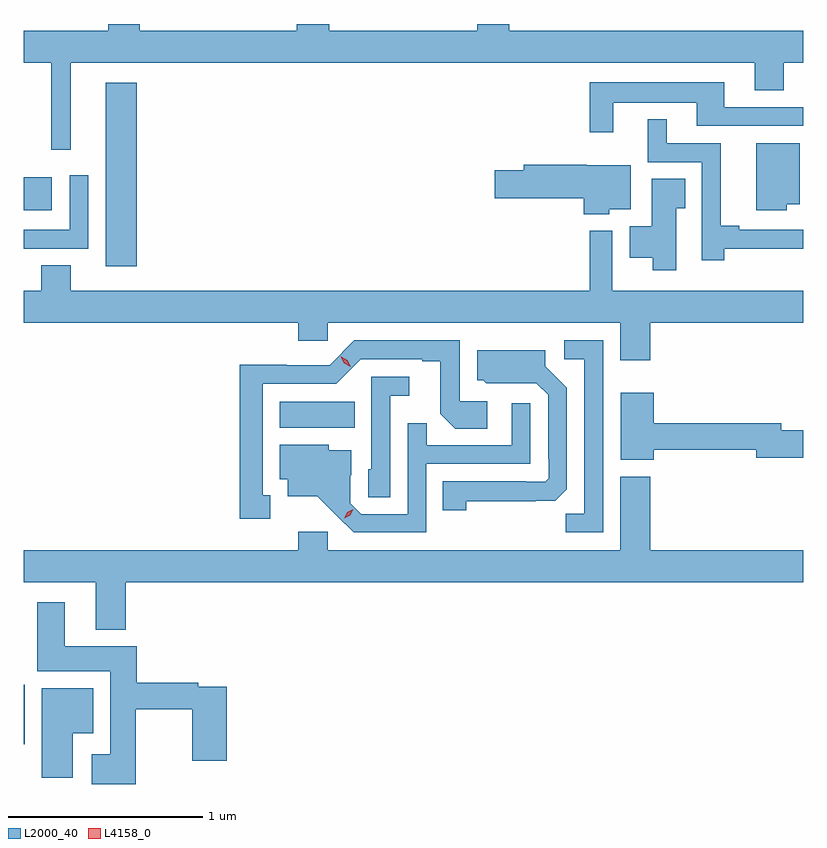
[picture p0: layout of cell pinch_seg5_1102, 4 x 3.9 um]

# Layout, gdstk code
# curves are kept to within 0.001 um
import gdstk
lib = gdstk.Library(unit=1e-6, precision=1e-09)
def R(c, l, rs):  # rectangles x0, y0, x1, y1
    for r in rs: c.add(gdstk.rectangle(r[:2], r[2:], *l))
def P(c, l, *ps):  # polygons
    for p in ps: c.add(gdstk.Polygon(p, *l))
L2000_40 = (2000, 40)
L4158_0 = (4158, 0)

pinch_seg5_1102 = lib.new_cell('pinch_seg5_1102')
R(pinch_seg5_1102, L2000_40, [(755.437,841.277,755.443,841.582), (756.752,842.9,757.136,843.034), (755.858,843.729,756.017,844.669), (755.437,844.016,755.581,844.186)])
P(pinch_seg5_1102, L2000_40, [(755.678,844.772),(759.188,844.772),(759.188,844.63),(759.336,844.63),(759.336,844.772),(759.437,844.772),(759.437,844.936),(757.928,844.936),(757.928,844.971),(757.763,844.971),(757.763,844.936),(757.004,844.936),(757.004,844.971),(756.839,844.971),(756.839,844.936),(756.032,844.936),(756.032,844.971),(755.872,844.971),(755.872,844.936),(755.437,844.936),(755.437,844.772),(755.579,844.772),(755.579,844.326),(755.678,844.326)],
  [(758.461,844.568),(758.891,844.568),(758.891,844.449),(759.437,844.449),(759.437,844.545),(759.031,844.545),(759.031,844.672),(758.34,844.672),(758.34,844.416),(758.461,844.416)],
  [(759.032,843.818),(759.437,843.818),(759.437,843.915),(759.109,843.915),(759.109,843.935),(759.014,843.935),(759.014,844.359),(758.737,844.359),(758.737,844.483),(758.639,844.483),(758.639,844.263),(758.916,844.263),(758.916,843.759),(759.032,843.759)],
  [(759.352,844.046),(759.418,844.046),(759.418,844.36),(759.194,844.36),(759.194,844.016),(759.352,844.016)],
  [(758.442,844.022),(758.551,844.022),(758.551,844.246),(758.325,844.246),(758.325,844.25),(758.003,844.25),(758.003,844.22),(757.854,844.22),(757.854,844.078),(758.309,844.078),(758.309,843.995),(758.442,843.995)],
  [(755.444,843.819),(755.769,843.819),(755.769,844.195),(755.673,844.195),(755.673,843.915),(755.437,843.915),(755.437,843.818),(755.444,843.818)],
  [(758.785,844.027),(758.831,844.027),(758.831,844.178),(758.66,844.178),(758.66,843.934),(758.546,843.934),(758.546,843.773),(758.663,843.773),(758.663,843.708),(758.785,843.708)],
  [(755.68,843.734),(755.528,843.734),(755.528,843.604),(755.437,843.604),(755.437,843.44),(756.845,843.44),(756.845,843.347),(756.996,843.347),(756.996,843.44),(758.498,843.44),(758.498,843.246),(758.651,843.246),(758.651,843.44),(759.437,843.44),(759.437,843.604),(758.457,843.604),(758.457,843.91),(758.341,843.91),(758.341,843.604),(755.68,843.604)],
  [(756.703,842.553),(756.664,842.553),(756.664,843.126),(757.041,843.126),(757.167,843.252),(757.481,843.252),(757.481,843.24),(757.575,843.24),(757.575,842.972),(757.651,842.896),(757.816,842.896),(757.816,843.036),(757.674,843.036),(757.674,843.348),(757.134,843.348),(757.008,843.222),(756.786,843.222),(756.786,843.224),(756.546,843.224),(756.546,842.433),(756.703,842.433)],
  [(758.409,843.348),(758.211,843.348),(758.211,843.252),(758.313,843.252),(758.313,842.459),(758.218,842.459),(758.218,842.364),(758.409,842.364)],
  [(757.707,842.524),(758.164,842.525),(758.223,842.584),(758.223,843.106),(758.113,843.216),(758.113,843.298),(757.763,843.298),(757.763,843.144),(757.794,843.144),(757.81,843.128),(758.067,843.129),(758.127,843.069),(758.127,842.74),(758.13,842.74),(758.13,842.64),(758.112,842.622),(758.012,842.622),(758.012,842.625),(757.588,842.625),(757.588,842.478),(757.707,842.478)],
  [(757.317,843.065),(757.414,843.065),(757.414,843.162),(757.221,843.162),(757.221,842.688),(757.206,842.688),(757.206,842.545),(757.317,842.545)],
  [(758.668,842.788),(759.194,842.788),(759.194,842.746),(759.437,842.746),(759.437,842.888),(759.322,842.888),(759.322,842.924),(758.668,842.924),(758.668,843.079),(758.501,843.079),(758.501,842.735),(758.668,842.735)],
  [(757.503,842.715),(758.037,842.715),(758.037,843.025),(757.941,843.025),(757.941,842.811),(757.505,842.811),(757.505,842.924),(757.407,842.924),(757.407,842.457),(757.17,842.457),(757.113,842.514),(757.113,842.656),(757.117,842.656),(757.117,842.785),(757.002,842.785),(757.002,842.812),(756.752,842.812),(756.752,842.636),(756.791,842.636),(756.791,842.549),(756.943,842.549),(757.13,842.364),(757.503,842.364)],
  [(759.437,842.272),(758.651,842.272),(758.651,842.65),(758.498,842.65),(758.498,842.272),(756.996,842.272),(756.996,842.368),(756.845,842.368),(756.845,842.272),(755.437,842.272),(755.437,842.108),(755.807,842.108),(755.807,841.865),(755.96,841.865),(755.96,842.108),(759.437,842.108)],
  [(756.012,841.456),(756.301,841.456),(756.301,841.191),(756.479,841.191),(756.479,841.572),(756.332,841.572),(756.332,841.592),(756.017,841.592),(756.017,841.78),(755.647,841.78),(755.647,842.005),(755.507,842.005),(755.507,841.652),(755.882,841.652),(755.882,841.225),(755.787,841.225),(755.787,841.073),(756.012,841.073)],
  [(755.689,841.334),(755.794,841.334),(755.794,841.564),(755.531,841.564),(755.531,841.104),(755.689,841.104)])
P(pinch_seg5_1102, L4158_0, [(757.081,842.436),(757.081,842.437),(757.098,842.466),(757.128,842.482),(757.128,842.482),(757.128,842.482),(757.112,842.452),(757.082,842.436)],
  [(757.114,843.213),(757.083,843.232),(757.065,843.264),(757.065,843.264),(757.066,843.264),(757.097,843.246),(757.115,843.213),(757.115,843.213)])

lib.write_gds('pinch_seg5_1102.gds')
